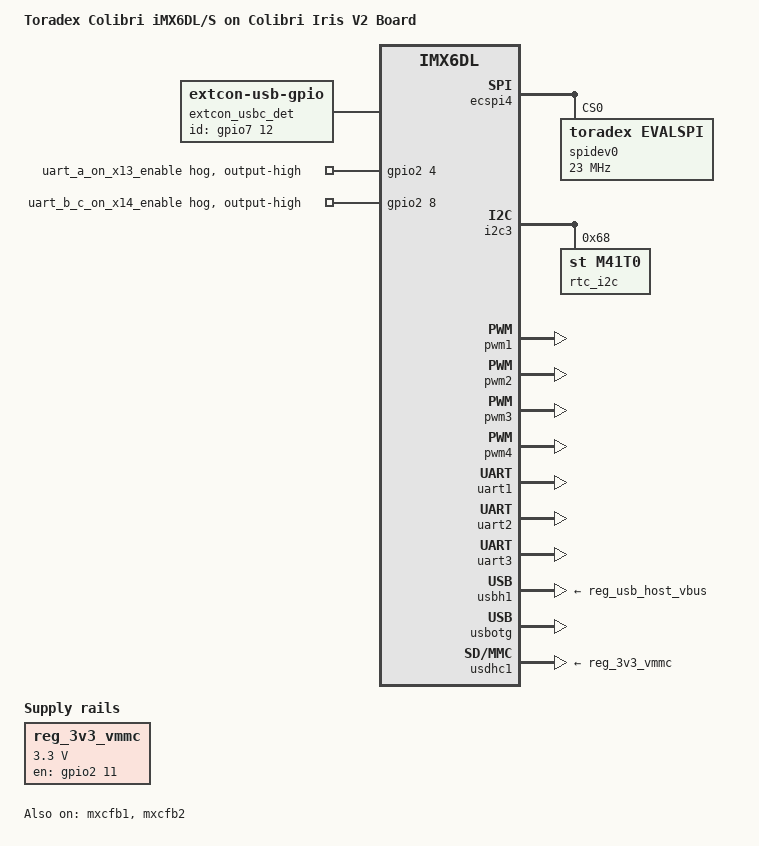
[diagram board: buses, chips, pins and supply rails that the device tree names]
// SPDX-License-Identifier: GPL-2.0+ OR X11
/*
 * Copyright 2018-2021 Toradex
 */

/dts-v1/;

#include <dt-bindings/input/input.h>
#include <dt-bindings/interrupt-controller/irq.h>
#include <dt-bindings/pwm/pwm.h>
#include "imx6dl.dtsi"
#include "imx6qdl-colibri.dtsi"

/ {
	model = "Toradex Colibri iMX6DL/S on Colibri Iris V2 Board";
	compatible = "toradex,colibri_imx6dl-iris-v2", \
			"toradex,colibri_imx6dl", "fsl,imx6dl";

	extcon_usbc_det: usbc_det {
		compatible = "linux,extcon-usb-gpio";
		debounce = <25>;
		id-gpio = <&gpio7 12 GPIO_ACTIVE_HIGH>;
		pinctrl-names = "default";
		pinctrl-0 = <&pinctrl_usbc_det>;
	};

	reg_3v3_vmmc: regulator-3v3-vmmc {
		compatible = "regulator-fixed";
		pinctrl-names = "default";
		pinctrl-0 = <&pinctrl_enable_3v3_vmmc>;
		regulator-name = "3v3_vmmc";
		regulator-min-microvolt = <3300000>;
		regulator-max-microvolt = <3300000>;
		gpio = <&gpio2 11 GPIO_ACTIVE_HIGH>;
		startup-delay-us = <100>;
		enable-active-high;
	};
};

/* Colibri SSP */
&ecspi4 {
	status = "okay";

	spidev0: spidev@0 {
		compatible = "toradex,evalspi";
		reg = <0>;
		spi-max-frequency = <23000000>;
		status = "okay";
	};
};

&gpio2 {
	/*
	 * uart_a_on_x13_enable turns the UART transceiver for UART_A on. If one
	 * wants to turn the transceiver off, that property has to be deleted
	 * and the gpio handled in userspace.
	 * The same applies to uart_b_c_on_x14_enable where the UART_B and
	 * UART_C transceiver is turned on.
	 */
	uart_a_on_x13_enable {
		gpio-hog;
		gpios = <4 GPIO_ACTIVE_HIGH>; /* SODIMM 102 */
		output-high;
	};

	uart_b_c_on_x14_enable {
		gpio-hog;
		gpios = <8 GPIO_ACTIVE_HIGH>; /* SODIMM 104 */
		output-high;
	};
};

/*
 * I2C: I2C3_SDA/SCL on SODIMM 194/196 (e.g. RTC on carrier
 * board)
 */
&i2c3 {
	status = "okay";

	/* M41T0M6 real time clock on carrier board */
	rtc_i2c: rtc@68 {
		compatible = "st,m41t0";
		reg = <0x68>;
	};
};

&mxcfb1 {
	status = "okay";
};

&mxcfb2 {
	status = "okay";
};

&pwm1 {
	status = "okay";
};

&pwm2 {
	status = "okay";
};

&pwm3 {
	status = "okay";
};

&pwm4 {
	status = "okay";
};

&reg_usb_host_vbus {
	status = "okay";
};

/* Colibri UART_A */
&uart1 {
	status = "okay";
};

/* Colibri UART_B */
&uart2 {
	status = "okay";
};

/* Colibri UART_C */
&uart3 {
	status = "okay";
};

&usbh1 {
	vbus-supply = <&reg_usb_host_vbus>;
	status = "okay";
};

&usbotg {
	status = "okay";
	extcon = <&extcon_usbc_det>, <&extcon_usbc_det>;
};

&usdhc1 {
	cap-power-off-card;
	/delete-property/ keep-power-in-suspend;
	vmmc-supply = <&reg_3v3_vmmc>;
	status = "okay";
};

&iomuxc {
	pinctrl-names = "default";
	pinctrl-0 = <&pinctrl_lvds_transceiver &pinctrl_gpio_iris>;

	gpio {
		pinctrl_lvds_transceiver: lvds-tx {
			fsl,pins = <
				MX6QDL_PAD_GPIO_7__GPIO1_IO07	0x0b030 /* SODIMM 55 */
				MX6QDL_PAD_GPIO_8__GPIO1_IO08	0x03030 /* SODIMM 63 */
				MX6QDL_PAD_EIM_WAIT__GPIO5_IO00	0x03030 /* SODIMM 95 */
				MX6QDL_PAD_SD2_DAT3__GPIO1_IO12	0x03030 /* SODIMM_99 */
			>;
		};

		pinctrl_gpio_iris: gpio-iris {
			fsl,pins = <
				MX6QDL_PAD_SD2_DAT0__GPIO1_IO15	0x1b0b0 /* SODIMM 98 */
				MX6QDL_PAD_NANDF_D3__GPIO2_IO03	0x1b0b0 /* SODIMM 133 */
				MX6QDL_PAD_EIM_A18__GPIO2_IO20	0x1b0b0 /* SODIMM 103 */
				MX6QDL_PAD_EIM_A17__GPIO2_IO21	0x1b0b0 /* SODIMM 101 */
				MX6QDL_PAD_EIM_A20__GPIO2_IO18	0x1b0b0 /* SODIMM 97 */
				MX6QDL_PAD_EIM_A23__GPIO6_IO06	0x1b0b0 /* SODIMM 85 */
				MX6QDL_PAD_EIM_A19__GPIO2_IO19	0x1b0b0 /* SODIMM 79 */
				MX6QDL_PAD_EIM_A16__GPIO2_IO22	0x1b0b0 /* SODIMM 45 */
			>;
		};
	};

	usdhc {
		pinctrl_enable_3v3_vmmc: enable_3v3_vmmc {
			fsl,pins = <
				MX6QDL_PAD_SD4_DAT3__GPIO2_IO11	0x1b0b0
			>;
		};
	};
};
